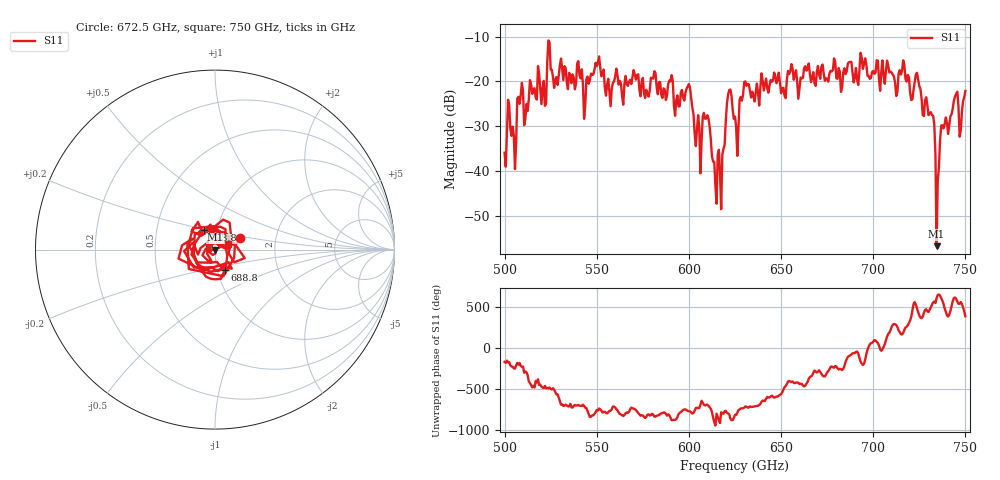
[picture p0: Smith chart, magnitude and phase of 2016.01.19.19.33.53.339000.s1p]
!Created with skrf (http://scikit-rf.org).
# GHz S RI R 50.0
!freq ReS11 ImS11
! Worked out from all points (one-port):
!   401 points, 500 GHz to 750 GHz, reference 50 ohm
!   lowest |S11| = -56.9 dB at 734.4 GHz (marker M1), VSWR 1.00, Z = 49.9 - j0.13 ohm
!   |S11| at or under -10 dB: start of sweep to end of sweep
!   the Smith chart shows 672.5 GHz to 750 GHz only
!   S11 on the Smith chart (normalised r, x): 672.5 GHz: 1.31, +0.18; 688.8 GHz: 1.08, -0.25; 723.8 GHz: 0.86, +0.19; 750 GHz: 1.15, +0.08
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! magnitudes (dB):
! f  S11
! 500 GHz  -35.9
! 502.5 GHz  -25.4
! 505 GHz  -32.1
! 508.1 GHz  -25.0
! 511.9 GHz  -25.0
! 521.2 GHz  -19.9
! 524.4 GHz  -11.3
! 531.2 GHz  -17.4
! 562.5 GHz  -19.8
! 590 GHz  -20.0
! 593.8 GHz  -23.1
! 600 GHz  -20.6
! 605 GHz  -27.5
! 609.4 GHz  -28.3
! 616.2 GHz  -35.3
! 621.9 GHz  -21.9
! 625 GHz  -27.9
! 631.2 GHz  -21.0
! 656.2 GHz  -17.1
! 672.5 GHz  -16.2
! 687.5 GHz  -15.6
! 688.8 GHz  -17.9
! 718.8 GHz  -18.5
! 723.8 GHz  -18.1
! 731.9 GHz  -27.5
! 734.4 GHz  -56.9
! 738.1 GHz  -30.5
! 750 GHz  -22.1
